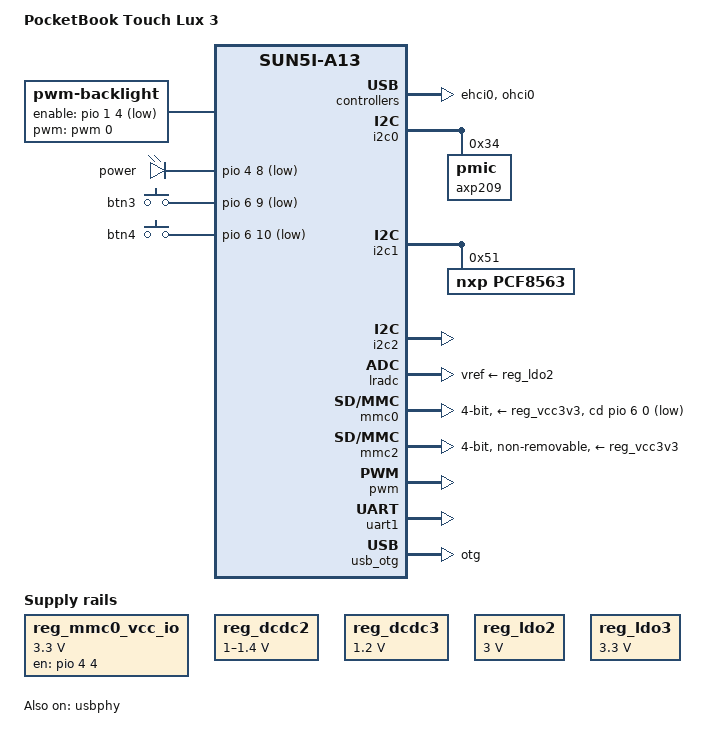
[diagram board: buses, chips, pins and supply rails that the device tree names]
/*
 * Copyright 2019 Ondrej Jirman <megous@megous.com>
 */

/dts-v1/;
#include "sun5i-a13.dtsi"
#include "sunxi-common-regulators.dtsi"
#include <dt-bindings/gpio/gpio.h>
#include <dt-bindings/input/input.h>
#include <dt-bindings/interrupt-controller/irq.h>
#include <dt-bindings/pwm/pwm.h>

/ {
	model = "PocketBook Touch Lux 3";
	compatible = "pocketbook,touch-lux-3", "allwinner,sun5i-a13";

	aliases {
		serial0 = &uart1;
	};

	backlight: backlight {
		compatible = "pwm-backlight";
		pwms = <&pwm 0 50000 PWM_POLARITY_INVERTED>;
		enable-gpios = <&pio 1 4 GPIO_ACTIVE_LOW>; /* PB4 */
		brightness-levels = <0 10 20 30 40 50 60 70 80 90 100>;
		default-brightness-level = <8>;
	};

	chosen {
		stdout-path = "serial0:115200n8";
	};

	leds {
		compatible = "gpio-leds";

		power {
			gpios = <&pio 4 8 GPIO_ACTIVE_LOW>; /* PE8 */
			default-state = "on";
		};
	};

	gpio-keys {
		compatible = "gpio-keys";

		/* https://github.com/torvalds/linux/blob/master/include/uapi/linux/input-event-codes.h */

		btn3 {
			label = "btn3";
			linux,code = <BTN_3>;
			gpios = <&pio 6 9 GPIO_ACTIVE_LOW>; /* PG9 */
		};

		btn4 {
			label = "btn4";
			linux,code = <BTN_4>;
			gpios = <&pio 6 10 GPIO_ACTIVE_LOW>; /* PG10 */
		};
	};

	reg_mmc0_vcc_io: mmc0-vcc-io {
		compatible = "regulator-fixed";
		regulator-name = "mmc0-vcc-io";
		regulator-min-microvolt = <3300000>;
		regulator-max-microvolt = <3300000>;
		enable-active-high;
		gpio = <&pio 4 4 GPIO_ACTIVE_HIGH>; /* PE4 */
		regulator-always-on;
	};
};

&cpu0 {
	cpu-supply = <&reg_dcdc2>;
};

&ehci0 {
	status = "okay";
};

&ohci0 {
	status = "okay";
};

&i2c0 {
	status = "okay";

	axp209: pmic@34 {
		reg = <0x34>;
		interrupts = <0>;
	};
};

#include "axp209.dtsi"

&i2c1 {
	status = "okay";

	pcf8563: rtc@51 {
		compatible = "nxp,pcf8563";
		reg = <0x51>;
	};

#if 0
//TODO: pmic for edp
	pmic@34 {
		compatible = "tps65185";

tps65185_wakeup = port:PD18<1><1><1><1>
tps65185_vcom = port:PD19<1><1><1><1>
tps65185_powerup = port:PE07<1><1><1><1>
tps65185_powergood = port:PE06<0><1><1><1>
tps65185_int = port:PB10<0><1><1><1>

	};
#endif
};

&i2c2 {
	status = "okay";

#if 0
	touchscreen: touchscreen@24 {
		reg = <0x24>;
//		interrupt-parent = <&pio>;
//		interrupts = <6 11 IRQ_TYPE_EDGE_FALLING>; /* EINT11 (PG11) */
		power-gpios = <&pio 1 3 GPIO_ACTIVE_HIGH>; /* PB3 */
		/* Tablet dts must provide reg and compatible */
		status = "disabled";
		1024 x 758

ctp_int_port = port:PG11<6><default><default><default>
ctp_reset = port:PB03<1><default><default><1>
//ctp_io_port = port:PG11<0><default><default><default> huh?
ctp_powerpin = port:PE05<1><default><default><0>


                cyttsp@a {
                        compatible = "cypress,cyttsp-i2c";
                        reg = <0xa>;
                        interrupt-parent = <&gpio0>;
                        interrupts = <28 0>;
                        reset-gpios = <&gpio3 4 GPIO_ACTIVE_LOW>;

                        touchscreen-size-x = <800>;
                        touchscreen-size-y = <480>;
                        touchscreen-fuzz-x = <4>;
                        touchscreen-fuzz-y = <7>;

                        bootloader-key = /bits/ 8 <0x01 0x02 0x03 0x04 0x05 0x06 0x07 0x08>;
                        active-distance = <8>;
                        active-interval-ms = <0>;
                        lowpower-interval-ms = <200>;
                        touch-timeout-ms = <100>;
                };
		
	};
#endif
};

&lradc {
	vref-supply = <&reg_ldo2>;
	status = "okay";

	button-200 {
		label = "Volume Up";
		linux,code = <KEY_VOLUMEUP>;
		channel = <0>;
		voltage = <200000>;
	};

	button-400 {
		label = "Volume Down";
		linux,code = <KEY_VOLUMEDOWN>;
		channel = <0>;
		voltage = <400000>;
	};
};

&mmc0 {
	vmmc-supply = <&reg_vcc3v3>;
	bus-width = <4>;
	cd-gpios = <&pio 6 0 GPIO_ACTIVE_LOW>; /* PG0 */
	status = "okay";
	
	//TODO: Need to implement this in the sunxi-mmc driver
	allwinner,enable-gpios = <&pio 4 4 GPIO_ACTIVE_HIGH>; /* PE4 */
};

&mmc2 {
         pinctrl-names = "default";
         pinctrl-0 = <&mmc2_4bit_pc_pins>;
         vmmc-supply = <&reg_vcc3v3>;
         bus-width = <4>;
         non-removable;
         status = "okay";
};

&otg_sram {
	status = "okay";
};

&pwm {
	pinctrl-names = "default";
	pinctrl-0 = <&pwm0_pin>;
	status = "okay";
};

&reg_dcdc2 {
	regulator-always-on;
	regulator-min-microvolt = <1000000>;
	regulator-max-microvolt = <1400000>;
	regulator-name = "vdd-cpu";
};

&reg_dcdc3 {
	regulator-always-on;
	regulator-min-microvolt = <1200000>;
	regulator-max-microvolt = <1200000>;
	regulator-name = "vdd-int-pll";
};

&reg_ldo1 {
	regulator-name = "vdd-rtc";
};

&reg_ldo2 {
	regulator-always-on;
	regulator-min-microvolt = <3000000>;
	regulator-max-microvolt = <3000000>;
	regulator-name = "avcc";
};

&reg_ldo3 {
	regulator-min-microvolt = <3300000>;
	regulator-max-microvolt = <3300000>;
	regulator-name = "vcc-wifi";
};

&reg_usb0_vbus {
	gpio = <&pio 6 12 GPIO_ACTIVE_HIGH>; /* PG12 */
	status = "okay";
};

&uart1 {
	pinctrl-names = "default";
	pinctrl-0 = <&uart1_pg_pins>;
	status = "okay";
};

&usb_otg {
	dr_mode = "otg";
	status = "okay";
};

&usbphy {
	usb0_id_det-gpios = <&pio 6 2 (GPIO_ACTIVE_HIGH | GPIO_PULL_UP)>; /* PG2 */
	usb0_vbus_det-gpios = <&pio 6 1 GPIO_ACTIVE_HIGH>; /* PG1 */
	usb0_vbus-supply = <&reg_usb0_vbus>;
//TODO: Hangs the board, when enabled:	
//	usb1_vbus-supply = <&reg_ldo3>;
	status = "okay";
};

&usb_power_supply {
	status = "okay";
};

&battery_power_supply {
	status = "okay";
};
